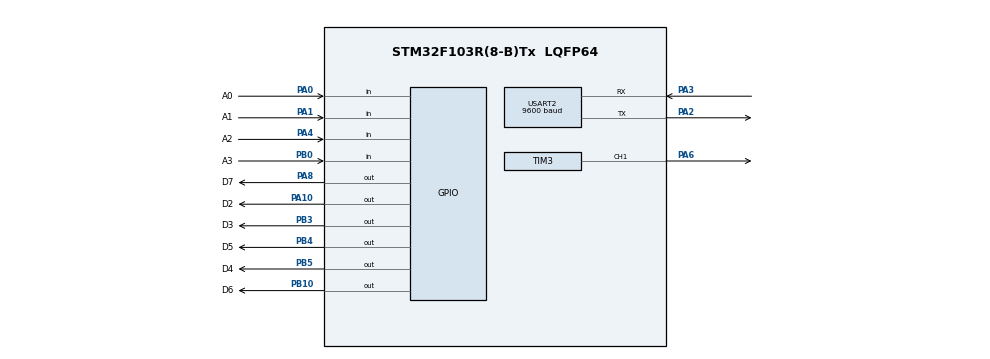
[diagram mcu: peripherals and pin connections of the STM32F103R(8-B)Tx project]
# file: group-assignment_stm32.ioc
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Mcu.Family=STM32F1
Mcu.Name=STM32F103R(8-B)Tx
Mcu.Package=LQFP64
NVIC.PriorityGroup=NVIC_PRIORITYGROUP_4
NVIC.TIM2_IRQn=true\:0\:0\:false\:false\:true\:true\:true
NVIC.USART2_IRQn=true\:0\:0\:false\:false\:true\:true\:true
PA0-WKUP.GPIO_Label=A0
PA0-WKUP.GPIO_PuPd=GPIO_PULLUP
PA0-WKUP.Signal=GPIO_Input
PA1.GPIO_Label=A1
PA1.Signal=GPIO_Input
PA10.GPIO_Label=D2
PA10.Signal=GPIO_Output
PA13.Mode=Serial_Wire
PA13.Signal=SYS_JTMS-SWDIO
PA14.Mode=Serial_Wire
PA14.Signal=SYS_JTCK-SWCLK
PA2.Mode=Asynchronous
PA2.Signal=USART2_TX
PA3.Mode=Asynchronous
PA3.Signal=USART2_RX
PA4.GPIO_Label=A2
PA4.Signal=GPIO_Input
PA6.Signal=S_TIM3_CH1
PA8.GPIO_Label=D7
PA8.Signal=GPIO_Output
PB0.GPIO_Label=A3
PB0.Signal=GPIO_Input
PB10.GPIO_Label=D6
PB10.Signal=GPIO_Output
PB3.GPIO_Label=D3
PB3.Signal=GPIO_Output
PB4.GPIO_Label=D5
PB4.Signal=GPIO_Output
PB5.GPIO_Label=D4
PB5.Signal=GPIO_Output
ProjectManager.HeapSize=0x200
ProjectManager.StackSize=0x400
ProjectManager.TargetToolchain=STM32CubeIDE
RCC.APB1Freq_Value=8000000
RCC.APB2Freq_Value=8000000
SH.S_TIM3_CH1.0=TIM3_CH1,PWM Generation1 CH1
TIM2.Period=10
TIM2.Prescaler=7999
TIM3.Channel-PWM\ Generation1\ CH1=TIM_CHANNEL_1
TIM3.Period=999
TIM3.Prescaler=79
TIM3.Pulse-PWM\ Generation1\ CH1=199
USART2.BaudRate=9600
USART2.VirtualMode=VM_ASYNC
VP_TIM2_VS_ClockSourceINT.Mode=Internal
VP_TIM3_VS_ClockSourceINT.Mode=Internal
board=custom

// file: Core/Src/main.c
/* USER CODE BEGIN Header */
/**
  ******************************************************************************
  * @file           : main.c
  * @brief          : Main program body
  ******************************************************************************
  * @attention
  *
  * <h2><center>&copy; Copyright (c) 2022 STMicroelectronics.
  * All rights reserved.</center></h2>
  *
  * This software component is licensed by ST under BSD 3-Clause license,
  * the "License"; You may not use this file except in compliance with the
  * License. You may obtain a copy of the License at:
  *                        opensource.org/licenses/BSD-3-Clause
  *
  ******************************************************************************
  */
/* USER CODE END Header */
#include "main.h"

/* USER CODE BEGIN Includes */
#include <stdio.h>
#include "global.h"
#include "input_processing.h"
#include "fsm_automatic.h"
/* USER CODE END Includes */

TIM_HandleTypeDef htim2;
TIM_HandleTypeDef htim3;

UART_HandleTypeDef huart2;

void SystemClock_Config(void);
static void MX_GPIO_Init(void);
static void MX_TIM2_Init(void);
static void MX_USART2_UART_Init(void);
static void MX_TIM3_Init(void);

/* USER CODE BEGIN 0 */
uint8_t temp = 0;
void HAL_UART_RxCpltCallback(UART_HandleTypeDef * huart) {
	if ( huart -> Instance == USART2 ) {
		HAL_UART_Transmit (&huart2 , &temp , 1 , 50) ;
		HAL_UART_Receive_IT (&huart2 , &temp , 1) ;
	}
}
/* USER CODE END 0 */

int main(void)
{

  /* MCU Configuration--------------------------------------------------------*/

  /* Reset of all peripherals, Initializes the Flash interface and the Systick. */
  HAL_Init();

  /* Configure the system clock */
  SystemClock_Config();

  /* Initialize all configured peripherals */
  MX_GPIO_Init();
  MX_TIM2_Init();
  MX_USART2_UART_Init();
  MX_TIM3_Init();
  /* USER CODE BEGIN 2 */
  HAL_UART_Receive_IT (&huart2 , &temp , 1) ;
  HAL_TIM_Base_Start_IT (& htim2 ) ;
  HAL_TIM_PWM_Start(&htim3,TIM_CHANNEL_1);
  /* USER CODE END 2 */

  /* Infinite loop */
  /* USER CODE BEGIN WHILE */

  uint32_t aValue = 8;
  char str[50];
  initSomeVariables();
  int coun =0;
  int i =1;
  setTimer5(5000);//giả sử 2ck là 5s
  while (1)
  {
	  HAL_UART_Transmit(&huart2 , (void*)str, sprintf (str, "%d\n", aValue), 1000);
	  fsm_for_input_processing();
	  if((ac_flagB2 == 1)&&(timer5_flag == 0)){
	  	 	  	  // đèn hoạt động

	  	 	  	 	  __HAL_TIM_SET_COMPARE(&htim3,TIM_CHANNEL_1,coun);
	  	 	  	 	  coun +=i;
	  	 	  	 	  if(coun >= 990){ coun = 0;
	  	 	  	 	  i++;}
	  	 	  	 	  HAL_Delay(2);
	  	 	    }
	  	 	  	 	  else {
	  	 	  	  //đèn tắt
	  	 	  	  __HAL_TIM_SET_COMPARE(&htim3,TIM_CHANNEL_1,0);
	  	 	  	setTimer5(5000);
	  	 	  	  ac_flagB2 = 0;
	  	 	  	  i =1;
	  	 	    }
    /* USER CODE END WHILE */

  }
}

void SystemClock_Config(void)
{
  RCC_OscInitTypeDef RCC_OscInitStruct = {0};
  RCC_ClkInitTypeDef RCC_ClkInitStruct = {0};

  /** Initializes the RCC Oscillators according to the specified parameters
  * in the RCC_OscInitTypeDef structure.
  */
  RCC_OscInitStruct.OscillatorType = RCC_OSCILLATORTYPE_HSI;
  RCC_OscInitStruct.HSIState = RCC_HSI_ON;
  RCC_OscInitStruct.HSICalibrationValue = RCC_HSICALIBRATION_DEFAULT;
  RCC_OscInitStruct.PLL.PLLState = RCC_PLL_NONE;
  if (HAL_RCC_OscConfig(&RCC_OscInitStruct) != HAL_OK)
  {
    Error_Handler();
  }
  /** Initializes the CPU, AHB and APB buses clocks
  */
  RCC_ClkInitStruct.ClockType = RCC_CLOCKTYPE_HCLK|RCC_CLOCKTYPE_SYSCLK
                              |RCC_CLOCKTYPE_PCLK1|RCC_CLOCKTYPE_PCLK2;
  RCC_ClkInitStruct.SYSCLKSource = RCC_SYSCLKSOURCE_HSI;
  RCC_ClkInitStruct.AHBCLKDivider = RCC_SYSCLK_DIV1;
  RCC_ClkInitStruct.APB1CLKDivider = RCC_HCLK_DIV1;
  RCC_ClkInitStruct.APB2CLKDivider = RCC_HCLK_DIV1;

  if (HAL_RCC_ClockConfig(&RCC_ClkInitStruct, FLASH_LATENCY_0) != HAL_OK)
  {
    Error_Handler();
  }
}

static void MX_TIM2_Init(void)
{

  TIM_ClockConfigTypeDef sClockSourceConfig = {0};
  TIM_MasterConfigTypeDef sMasterConfig = {0};

  htim2.Instance = TIM2;
  htim2.Init.Prescaler = 7999;
  htim2.Init.CounterMode = TIM_COUNTERMODE_UP;
  htim2.Init.Period = 10;
  htim2.Init.ClockDivision = TIM_CLOCKDIVISION_DIV1;
  htim2.Init.AutoReloadPreload = TIM_AUTORELOAD_PRELOAD_DISABLE;
  if (HAL_TIM_Base_Init(&htim2) != HAL_OK)
  {
    Error_Handler();
  }
  sClockSourceConfig.ClockSource = TIM_CLOCKSOURCE_INTERNAL;
  if (HAL_TIM_ConfigClockSource(&htim2, &sClockSourceConfig) != HAL_OK)
  {
    Error_Handler();
  }
  sMasterConfig.MasterOutputTrigger = TIM_TRGO_RESET;
  sMasterConfig.MasterSlaveMode = TIM_MASTERSLAVEMODE_DISABLE;
  if (HAL_TIMEx_MasterConfigSynchronization(&htim2, &sMasterConfig) != HAL_OK)
  {
    Error_Handler();
  }

}

static void MX_TIM3_Init(void)
{

  TIM_ClockConfigTypeDef sClockSourceConfig = {0};
  TIM_MasterConfigTypeDef sMasterConfig = {0};
  TIM_OC_InitTypeDef sConfigOC = {0};

  htim3.Instance = TIM3;
  htim3.Init.Prescaler = 79;
  htim3.Init.CounterMode = TIM_COUNTERMODE_UP;
  htim3.Init.Period = 999;
  htim3.Init.ClockDivision = TIM_CLOCKDIVISION_DIV1;
  htim3.Init.AutoReloadPreload = TIM_AUTORELOAD_PRELOAD_DISABLE;
  if (HAL_TIM_Base_Init(&htim3) != HAL_OK)
  {
    Error_Handler();
  }
  sClockSourceConfig.ClockSource = TIM_CLOCKSOURCE_INTERNAL;
  if (HAL_TIM_ConfigClockSource(&htim3, &sClockSourceConfig) != HAL_OK)
  {
    Error_Handler();
  }
  if (HAL_TIM_PWM_Init(&htim3) != HAL_OK)
  {
    Error_Handler();
  }
  sMasterConfig.MasterOutputTrigger = TIM_TRGO_RESET;
  sMasterConfig.MasterSlaveMode = TIM_MASTERSLAVEMODE_DISABLE;
  if (HAL_TIMEx_MasterConfigSynchronization(&htim3, &sMasterConfig) != HAL_OK)
  {
    Error_Handler();
  }
  sConfigOC.OCMode = TIM_OCMODE_PWM1;
  sConfigOC.Pulse = 199;
  sConfigOC.OCPolarity = TIM_OCPOLARITY_HIGH;
  sConfigOC.OCFastMode = TIM_OCFAST_DISABLE;
  if (HAL_TIM_PWM_ConfigChannel(&htim3, &sConfigOC, TIM_CHANNEL_1) != HAL_OK)
  {
    Error_Handler();
  }
  HAL_TIM_MspPostInit(&htim3);

}

static void MX_USART2_UART_Init(void)
{

  huart2.Instance = USART2;
  huart2.Init.BaudRate = 9600;
  huart2.Init.WordLength = UART_WORDLENGTH_8B;
  huart2.Init.StopBits = UART_STOPBITS_1;
  huart2.Init.Parity = UART_PARITY_NONE;
  huart2.Init.Mode = UART_MODE_TX_RX;
  huart2.Init.HwFlowCtl = UART_HWCONTROL_NONE;
  huart2.Init.OverSampling = UART_OVERSAMPLING_16;
  if (HAL_UART_Init(&huart2) != HAL_OK)
  {
    Error_Handler();
  }

}

static void MX_GPIO_Init(void)
{
  GPIO_InitTypeDef GPIO_InitStruct = {0};

  /* GPIO Ports Clock Enable */
  __HAL_RCC_GPIOA_CLK_ENABLE();
  __HAL_RCC_GPIOB_CLK_ENABLE();

  /*Configure GPIO pin Output Level */
  HAL_GPIO_WritePin(GPIOB, D6_Pin|D3_Pin|D5_Pin|D4_Pin, GPIO_PIN_RESET);

  /*Configure GPIO pin Output Level */
  HAL_GPIO_WritePin(GPIOA, D7_Pin|D2_Pin, GPIO_PIN_RESET);

  /*Configure GPIO pin : A0_Pin */
  GPIO_InitStruct.Pin = A0_Pin;
  GPIO_InitStruct.Mode = GPIO_MODE_INPUT;
  GPIO_InitStruct.Pull = GPIO_PULLUP;
  HAL_GPIO_Init(A0_GPIO_Port, &GPIO_InitStruct);

  /*Configure GPIO pins : A1_Pin A2_Pin */
  GPIO_InitStruct.Pin = A1_Pin|A2_Pin;
  GPIO_InitStruct.Mode = GPIO_MODE_INPUT;
  GPIO_InitStruct.Pull = GPIO_NOPULL;
  HAL_GPIO_Init(GPIOA, &GPIO_InitStruct);

  /*Configure GPIO pin : A3_Pin */
  GPIO_InitStruct.Pin = A3_Pin;
  GPIO_InitStruct.Mode = GPIO_MODE_INPUT;
  GPIO_InitStruct.Pull = GPIO_NOPULL;
  HAL_GPIO_Init(A3_GPIO_Port, &GPIO_InitStruct);

  /*Configure GPIO pins : D6_Pin D3_Pin D5_Pin D4_Pin */
  GPIO_InitStruct.Pin = D6_Pin|D3_Pin|D5_Pin|D4_Pin;
  GPIO_InitStruct.Mode = GPIO_MODE_OUTPUT_PP;
  GPIO_InitStruct.Pull = GPIO_NOPULL;
  GPIO_InitStruct.Speed = GPIO_SPEED_FREQ_LOW;
  HAL_GPIO_Init(GPIOB, &GPIO_InitStruct);

  /*Configure GPIO pins : D7_Pin D2_Pin */
  GPIO_InitStruct.Pin = D7_Pin|D2_Pin;
  GPIO_InitStruct.Mode = GPIO_MODE_OUTPUT_PP;
  GPIO_InitStruct.Pull = GPIO_NOPULL;
  GPIO_InitStruct.Speed = GPIO_SPEED_FREQ_LOW;
  HAL_GPIO_Init(GPIOA, &GPIO_InitStruct);

}

/* USER CODE BEGIN 4 */
void HAL_TIM_PeriodElapsedCallback ( TIM_HandleTypeDef * htim ){
	timerRun();
isB2Nor();
	getKeyInput();
}

/* USER CODE END 4 */

void Error_Handler(void)
{
  __disable_irq();
  while (1)
  {
  }
}

/************************ (C) COPYRIGHT STMicroelectronics *****END OF FILE****/
